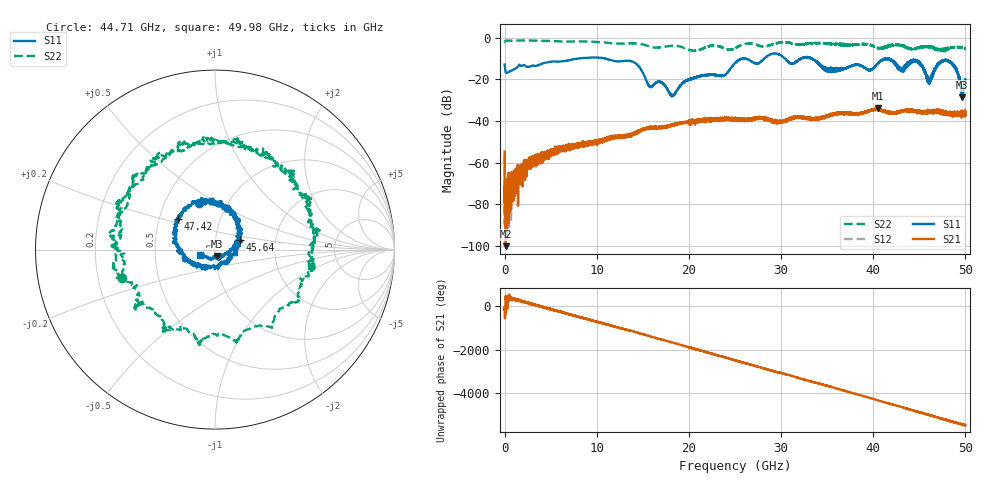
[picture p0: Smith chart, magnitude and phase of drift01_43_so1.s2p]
!Created with skrf (http://scikit-rf.org).
# Hz S RI R 50.0
!freq ReS11 ImS11 ReS21 ImS21 ReS12 ImS12 ReS22 ImS22
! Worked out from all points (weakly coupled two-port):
!   10001 points, 300 kHz to 50 GHz, reference 50 ohm
!   highest |S21| = -33.93 dB at 40.48 GHz (marker M1); lowest = -100.1 dB at 130.3 MHz (marker M2)
!   lowest |S11| = -28.7 dB at 49.67 GHz (marker M3), VSWR 1.08, Z = 51 - j3.57 ohm
!   |S11| at or under -10 dB: 10.89 GHz to 25.98 GHz (15.09 GHz wide, 81.8 % of centre); 33.26 GHz to 41.4 GHz (8.136 GHz wide, 21.8 % of centre); 41.6 GHz to end of sweep (the widest 3 of 13)
!   |S22| runs from -6.6 to -1.4 dB; largest |S21 - S12| = 0.004
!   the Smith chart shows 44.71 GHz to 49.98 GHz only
!   S11 on the Smith chart (normalised r, x): 44.71 GHz: 0.73, +0.42; 45.64 GHz: 1.32, +0.14; 47.42 GHz: 0.62, +0.23; 49.98 GHz: 0.84, -0.05
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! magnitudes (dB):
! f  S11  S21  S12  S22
! 300 kHz  -13.0  -54.7  -56.3  -2.1
! 130.3 MHz  -16.6  -100.1  -73.8  -1.5
! 290.3 MHz  -16.9  -84.9  -96.4  -1.4
! 2.935 GHz  -13.6  -60.6  -58.5  -1.4
! 8.335 GHz  -9.9  -51.6  -51.7  -1.8
! 13.78 GHz  -11.4  -45.8  -46.5  -2.7
! 15.74 GHz  -23.5  -43.7  -43.2  -4.3
! 16.67 GHz  -21.2  -43.2  -43.1  -4.8
! 18.24 GHz  -27.5  -42.0  -41.8  -3.9
! 25 GHz  -12.2  -39.1  -39.4  -5.1
! 33.34 GHz  -10.1  -39.1  -39.3  -2.7
! 35.12 GHz  -15.5  -37.5  -37.8  -2.8
! 40.48 GHz  -12.6  -33.9  -34.4  -5.0
! 41.67 GHz  -10.4  -36.3  -36.2  -4.4
! 44.71 GHz  -11.2  -35.4  -35.3  -5.4
! 45.64 GHz  -16.5  -35.7  -35.8  -4.6
! 46.14 GHz  -21.2  -35.7  -35.4  -4.4
! 47.42 GHz  -11.4  -35.3  -36.3  -5.4
! 48.76 GHz  -13.4  -36.7  -36.9  -4.6
! 49.67 GHz  -28.7  -36.5  -35.6  -4.8
! 49.98 GHz  -20.8  -36.0  -36.3  -5.3
! 50 GHz  -20.9  -36.2  -35.9  -5.4
